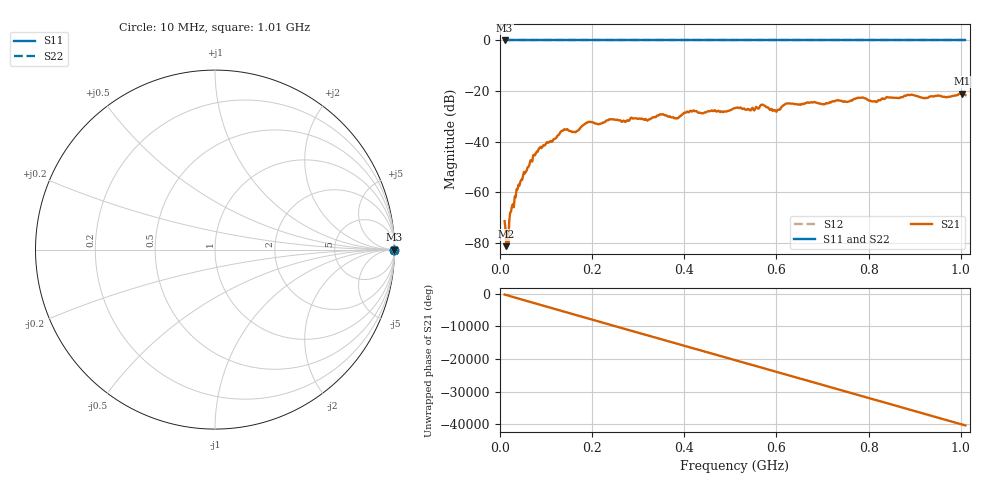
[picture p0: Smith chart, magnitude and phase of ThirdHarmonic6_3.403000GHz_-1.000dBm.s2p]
! 8/17/2025 10:52:35 AM
! C:\ANRITSUVNA\TEMP\TEMP.S2P
! CHANNEL.1
! TR.MEASUREMENT
! RAW.DATA
! RF.CORRECTION.OFF
! AVERAGING.OFF
! IF.BANDWIDTH: 5KHZ
! SWEEPTYPE:  FREQ.SWEEP(Linear)
! Reference Plane Port Info
! PORT:  PORT1  PORT2
! DISTANCE:  0  m  0  m
! TIME:  0  s  0  s
! PHASE.OFFSET:  0  deg.  0  deg.
! LOSS:  0  dB  0  dB
! REF.LOSS:  0  dB  0  dB
! REF.FREQ:  0  Hz  0  Hz
! Power Info
! POWER:  -20  dBm  -20  dBm
! EFF.POWER:  -20  dBm  -20  dBm
! SOURCE.ATTEN:  0  dB  0  dB
! TEST.ATTEN:  0  dB  0  dB
# GHZ S RI R 50.0
! FREQ.GHZ  S11RE  S11IM  S21RE  S21IM  S12RE  S12IM  S22RE  S22IM
!; PortSelection: Port_12
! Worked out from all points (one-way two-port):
!   501 points, 10 MHz to 1.01 GHz, reference 50 ohm
!   highest |S21| = -20.97 dB at 1.002 GHz (marker M1); lowest = -81.2 dB at 14 MHz (marker M2)
!   lowest |S11| = 0.0 dB at 10 MHz (marker M3)
!   |S11| at or under -10 dB: nowhere
!   |S22| runs from 0.0 to 0.0 dB; largest |S21 - S12| = 1.1
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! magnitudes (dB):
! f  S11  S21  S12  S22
! 10 MHz  0.0  -71.4  0.0  0.0
! 14 MHz  0.0  -81.2  0.0  0.0
! 18 MHz  0.0  -80.5  0.0  0.0
! 24 MHz  0.0  -67.5  0.0  0.0
! 40 MHz  0.0  -57.0  0.0  0.0
! 76 MHz  0.0  -45.4  0.0  0.0
! 136 MHz  0.0  -35.7  0.0  0.0
! 164 MHz  0.0  -36.2  0.0  0.0
! 178 MHz  0.0  -33.8  0.0  0.0
! 344 MHz  0.0  -29.6  0.0  0.0
! 382 MHz  0.0  -30.7  0.0  0.0
! 416 MHz  0.0  -28.1  0.0  0.0
! 510 MHz  0.0  -26.7  0.0  0.0
! 570 MHz  0.0  -25.3  0.0  0.0
! 596 MHz  0.0  -27.4  0.0  0.0
! 622 MHz  0.0  -24.9  0.0  0.0
! 678 MHz  0.0  -24.5  0.0  0.0
! 784 MHz  0.0  -22.6  0.0  0.0
! 814 MHz  0.0  -24.0  0.0  0.0
! 844 MHz  0.0  -22.5  0.0  0.0
! 1.002 GHz  0.0  -21.0  0.0  0.0
! 1.01 GHz  0.0  -21.6  0.0  0.0
